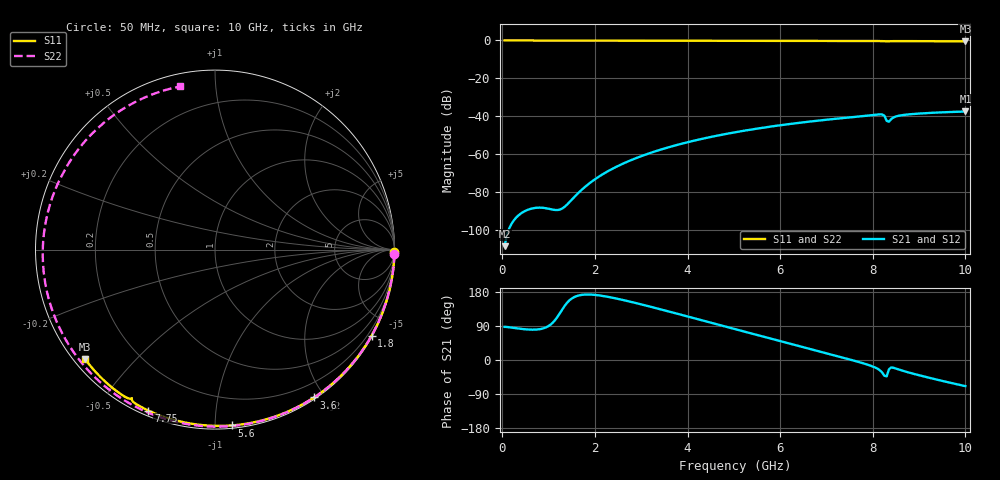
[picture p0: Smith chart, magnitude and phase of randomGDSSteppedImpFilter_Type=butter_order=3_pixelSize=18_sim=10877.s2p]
! freq	dB(S11)	phase(S11)	dB(S12)	phase(S12)
!  dB(S21)	phase(S21)	dB(S22)	phase(S22)
!S-par simulation data
#  GHz  S  DB  R 50
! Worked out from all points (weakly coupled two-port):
!   200 points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, 50 MHz to 10 GHz, reference 50 ohm
!   highest |S21| = -37.43 dB at 10 GHz (marker M1); lowest = -108.4 dB at 50 MHz (marker M2)
!   lowest |S11| = -0.5 dB at 10 GHz (marker M3), VSWR 36.48, Z = 1.55 - j18.2 ohm
!   |S11| at or under -10 dB: nowhere
!   |S22| runs from -0.6 to 0.0 dB; largest |S21 - S12| = 0
!   S11 on the Smith chart (normalised r, x): 50 MHz: open; 1.8 GHz: 0.03, -3.90; 3.6 GHz: 0.02, -1.87; 5.6 GHz: 0.02, -1.10; 7.75 GHz: 0.02, -0.67; 10 GHz: 0.03, -0.36
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0.05  -0.00 -0.8  -108.39 87.4  -108.39 87.4  -0.00 -1.4
0.8  -0.01 -12.9  -88.08 81.2  -88.08 81.2  -0.03 -22.0
1.65  -0.03 -26.4  -80.16 170.3  -80.16 170.3  -0.06 -44.9
1.75  -0.04 -28.0  -77.91 172.4  -77.91 172.4  -0.06 -47.5
1.8  -0.04 -28.8  -76.87 172.8  -76.87 172.8  -0.06 -48.9
2.1  -0.04 -33.5  -71.53 170.3  -71.53 170.3  -0.07 -56.7
2.45  -0.05 -38.9  -66.72 162.6  -66.72 162.6  -0.08 -65.7
3.4  -0.07 -53.2  -57.67 134.3  -57.67 134.3  -0.12 -89.3
3.6  -0.08 -56.2  -56.22 127.9  -56.22 127.9  -0.12 -94.1
4.3  -0.09 -66.3  -51.91 105.2  -51.91 105.2  -0.15 -110.8
5.05  -0.12 -76.9  -48.28 80.7  -48.28 80.7  -0.19 -128.2
5.6  -0.14 -84.4  -46.09 62.8  -46.09 62.8  -0.23 -141.0
6.7  -0.19 -99.0  -42.57 27.3  -42.57 27.3  -0.31 -166.8
7.75  -0.26 -112.5  -39.95 -7.1  -39.95 -7.1  -0.41 167.2
8.2  -0.34 -118.5  -38.95 -32.6  -38.95 -32.6  -0.46 155.4
8.25  -0.40 -119.1  -39.65 -41.5  -39.65 -41.5  -0.47 154.0
8.3  -0.46 -119.2  -42.33 -43.2  -42.33 -43.2  -0.48 152.7
8.35  -0.41 -119.4  -42.81 -24.3  -42.81 -24.3  -0.48 151.4
8.45  -0.35 -120.7  -40.54 -20.7  -40.54 -20.7  -0.48 148.6
8.65  -0.34 -123.3  -39.30 -28.6  -39.30 -28.6  -0.50 143.0
9.4  -0.41 -132.6  -37.98 -52.3  -37.98 -52.3  -0.58 121.0
10  -0.48 -140.0  -37.43 -69.0  -37.43 -69.0  -0.64 102.1
